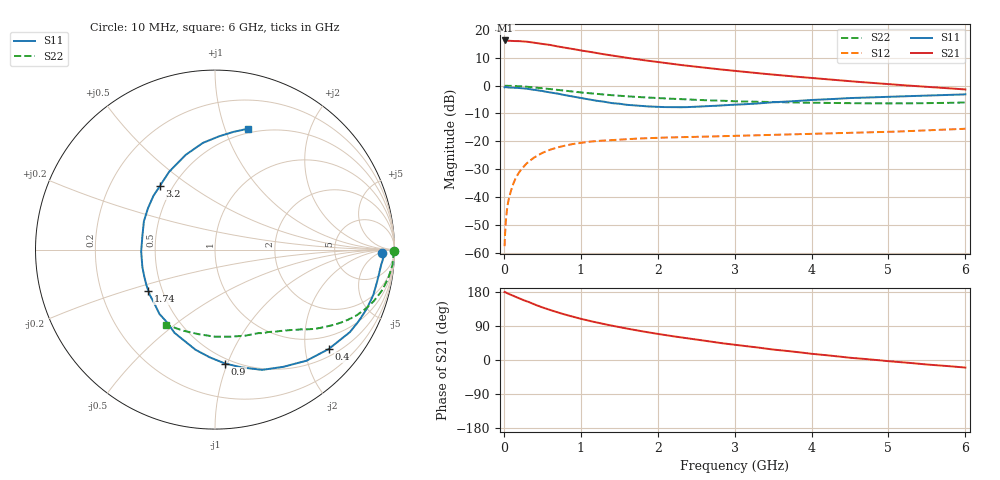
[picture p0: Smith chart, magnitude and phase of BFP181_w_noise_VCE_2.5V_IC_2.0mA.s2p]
! Infineon Technologies  Discrete & RF Semiconductors
! BFP181
! VCE = 2.5 V,  IC =  2.0 mA
! Common Emitter S-Parameters:  Jan 2016
# GHz  S  MA  R  50
!  f  S11  S21  S12  S22
! GHz  MAG  ANG  MAG  ANG  MAG  ANG  MAG  ANG
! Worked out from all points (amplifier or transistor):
!   210 points, 10 MHz to 6 GHz, reference 50 ohm
!   highest |S21| = 16.3 dB at 20 MHz (marker M1)
!   |S21| within 3 dB of that: start of sweep to 884.6 MHz
!   unconditionally stable (mu >= 1): 2.433 GHz to end of sweep
!   at 185 MHz: K = 0.10, MSG = 23.9 dB, |S12| = -31.7 dB
!   at 1.52 GHz: K = 0.69, MSG = 14.9 dB, |S12| = -19.4 dB
!   at 6 GHz: K = 1.14, MAG = 4.8 dB, |S12| = -15.5 dB
!   lowest NFmin = 1.35 dB at 450 MHz
!   S11 on the Smith chart (normalised r, x): 10 MHz: 25, -8; 400 MHz: 0.66, -2.52; 900 MHz: 0.46, -0.98; 1.74 GHz: 0.42, -0.24; 3.2 GHz: 0.42, +0.38; 6 GHz: 0.46, +1.20
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0.01  0.9307 -1.3  6.454 179.3  0.0013 78.4  0.9966 -0.4
0.02  0.9426 -2.0  6.498 178.8  0.0027 85.6  0.9939 -1.0
0.05  0.9298 -5.2  6.442 175.6  0.0073 89.1  0.9939 -2.4
0.135  0.9179 -14.3  6.343 168.3  0.019 80.4  0.987 -6.5
0.24  0.8973 -25.2  6.249 159.3  0.0327 75.0  0.9694 -11.2
0.3  0.8809 -31.5  6.173 154.9  0.0404 71.1  0.9568 -13.9
0.4  0.8419 -41.1  5.915 146.4  0.0516 65.9  0.9302 -18.0
0.5  0.8016 -50.6  5.63 138.8  0.0617 59.9  0.9003 -21.6
0.6  0.7562 -59.7  5.401 132.0  0.0705 55.3  0.8689 -25.0
0.8  0.674 -77.0  4.833 119.5  0.0837 47.2  0.8084 -30.3
0.9  0.6376 -84.9  4.561 114.1  0.0895 43.9  0.7813 -32.5
1.02  0.5938 -94.3  4.255 107.8  0.0943 40.4  0.7511 -35.0
1.2  0.5366 -108.2  3.874 99.3  0.101 35.7  0.7127 -38.3
1.36  0.4971 -120.1  3.56 92.4  0.1045 32.5  0.6814 -40.7
1.74  0.4369 -148.0  2.972 77.9  0.1119 27.1  0.626 -45.6
2.02  0.4149 -167.7  2.634 68.3  0.1159 24.0  0.5967 -49.1
2.4  0.4123 168.5  2.273 56.7  0.1196 20.9  0.565 -54.2
3.1  0.4607 135.0  1.789 37.8  0.1258 17.6  0.5205 -64.1
3.2  0.4685 131.2  1.732 35.5  0.127 17.3  0.5168 -65.7
4.1  0.56 104.9  1.338 14.5  0.1367 14.2  0.4901 -82.0
5.1  0.6375 86.5  1.04 -4.7  0.1492 12.1  0.4798 -103.1
6  0.6971 74.9  0.855 -20.0  0.1679 9.4  0.4989 -122.9
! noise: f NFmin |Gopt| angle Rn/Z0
0.45  1.35  0.6  17  0.4
0.9  1.45  0.5  36  0.4
1.8  1.8  0.31  80  0.37
